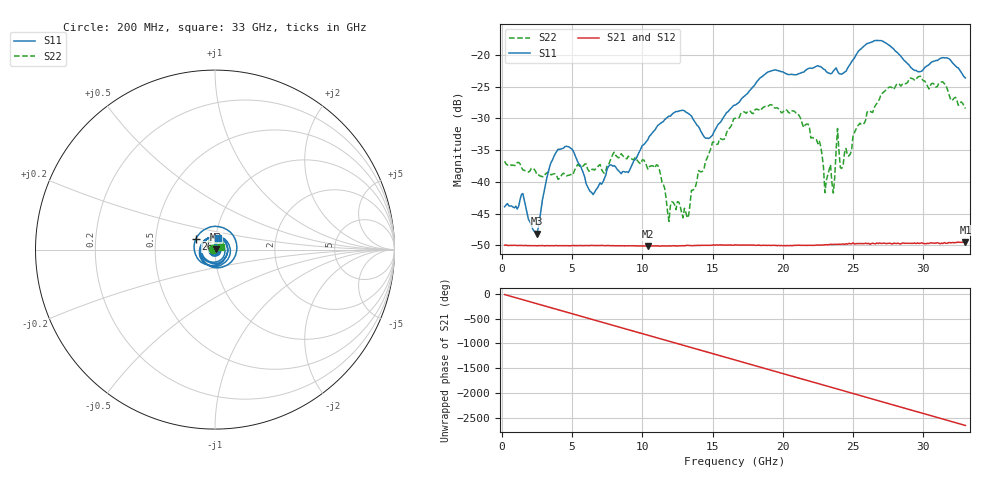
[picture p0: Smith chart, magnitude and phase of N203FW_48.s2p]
# GHZ S RI R 50
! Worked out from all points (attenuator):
!   329 points, 200 MHz to 33 GHz, reference 50 ohm
!   highest |S21| = -49.44 dB at 33 GHz (marker M1); lowest = -50.1 dB at 10.4 GHz (marker M2)
!   lowest |S11| = -48.2 dB at 2.5 GHz (marker M3), VSWR 1.01, Z = 50.4 + j0.167 ohm
!   |S11| at or under -10 dB: start of sweep to end of sweep
!   |S22| runs from -46.2 to -23.4 dB; largest |S21 - S12| = 8.8e-05
!   S11 on the Smith chart (normalised r, x): 200 MHz: 1.01, +0.00; 26 GHz: 0.80, +0.10; 33 GHz: 1.02, +0.13
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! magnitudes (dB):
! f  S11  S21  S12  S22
! 200 MHz  -43.9  -50.0  -49.9  -36.8
! 1.5 GHz  -41.8  -50.0  -50.0  -38.1
! 2.5 GHz  -48.2  -50.1  -50.0  -38.9
! 4 GHz  -34.9  -50.0  -50.0  -39.6
! 5.7 GHz  -38.0  -50.0  -50.0  -37.6
! 6.5 GHz  -42.0  -50.0  -50.0  -38.0
! 10.4 GHz  -33.3  -50.1  -50.1  -38.0
! 11.2 GHz  -30.9  -50.1  -50.1  -37.9
! 11.9 GHz  -29.6  -50.1  -50.1  -46.2
! 13.2 GHz  -29.1  -50.0  -50.0  -45.7
! 14.7 GHz  -33.2  -50.0  -50.0  -35.7
! 16.6 GHz  -27.9  -49.9  -49.9  -30.0
! 19.2 GHz  -22.5  -50.0  -50.0  -27.9
! 22.1 GHz  -22.1  -50.0  -50.0  -33.0
! 23 GHz  -22.3  -49.9  -49.9  -41.7
! 23.4 GHz  -23.0  -49.8  -49.8  -37.3
! 23.6 GHz  -22.6  -49.8  -49.8  -41.7
! 23.9 GHz  -22.6  -49.8  -49.8  -31.6
! 24.2 GHz  -23.0  -49.8  -49.8  -37.9
! 26 GHz  -18.2  -49.7  -49.7  -29.0
! 27.6 GHz  -18.5  -49.7  -49.7  -25.1
! 33 GHz  -23.6  -49.4  -49.5  -28.4
